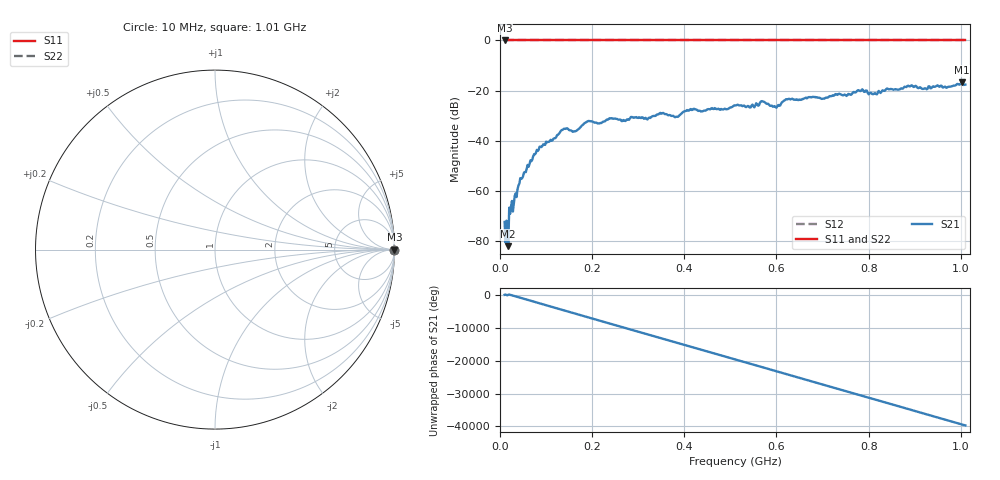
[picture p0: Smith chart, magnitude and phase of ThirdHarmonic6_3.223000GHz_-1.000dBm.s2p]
! 8/17/2025 9:50:51 AM
! C:\ANRITSUVNA\TEMP\TEMP.S2P
! CHANNEL.1
! TR.MEASUREMENT
! RAW.DATA
! RF.CORRECTION.OFF
! AVERAGING.OFF
! IF.BANDWIDTH: 5KHZ
! SWEEPTYPE:  FREQ.SWEEP(Linear)
! Reference Plane Port Info
! PORT:  PORT1  PORT2
! DISTANCE:  0  m  0  m
! TIME:  0  s  0  s
! PHASE.OFFSET:  0  deg.  0  deg.
! LOSS:  0  dB  0  dB
! REF.LOSS:  0  dB  0  dB
! REF.FREQ:  0  Hz  0  Hz
! Power Info
! POWER:  -20  dBm  -20  dBm
! EFF.POWER:  -20  dBm  -20  dBm
! SOURCE.ATTEN:  0  dB  0  dB
! TEST.ATTEN:  0  dB  0  dB
# GHZ S RI R 50.0
! FREQ.GHZ  S11RE  S11IM  S21RE  S21IM  S12RE  S12IM  S22RE  S22IM
!; PortSelection: Port_12
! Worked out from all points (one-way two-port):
!   501 points, 10 MHz to 1.01 GHz, reference 50 ohm
!   highest |S21| = -16.65 dB at 1.002 GHz (marker M1); lowest = -81.9 dB at 18 MHz (marker M2)
!   lowest |S11| = 0.0 dB at 10 MHz (marker M3)
!   |S11| at or under -10 dB: nowhere
!   |S22| runs from 0.0 to 0.0 dB; largest |S21 - S12| = 1.1
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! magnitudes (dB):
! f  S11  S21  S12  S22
! 10 MHz  0.0  -72.2  0.0  0.0
! 14 MHz  0.0  -71.7  0.0  0.0
! 18 MHz  0.0  -81.9  0.0  0.0
! 24 MHz  0.0  -65.9  0.0  0.0
! 42 MHz  0.0  -57.0  0.0  0.0
! 76 MHz  0.0  -45.3  0.0  0.0
! 136 MHz  0.0  -35.6  0.0  0.0
! 162 MHz  0.0  -36.2  0.0  0.0
! 178 MHz  0.0  -33.8  0.0  0.0
! 344 MHz  0.0  -29.4  0.0  0.0
! 382 MHz  0.0  -30.4  0.0  0.0
! 410 MHz  0.0  -28.0  0.0  0.0
! 510 MHz  0.0  -25.8  0.0  0.0
! 570 MHz  0.0  -24.2  0.0  0.0
! 596 MHz  0.0  -26.1  0.0  0.0
! 624 MHz  0.0  -23.4  0.0  0.0
! 678 MHz  0.0  -22.5  0.0  0.0
! 782 MHz  0.0  -20.2  0.0  0.0
! 814 MHz  0.0  -21.0  0.0  0.0
! 844 MHz  0.0  -19.4  0.0  0.0
! 1.002 GHz  0.0  -16.7  0.0  0.0
! 1.01 GHz  0.0  -17.6  0.0  0.0
